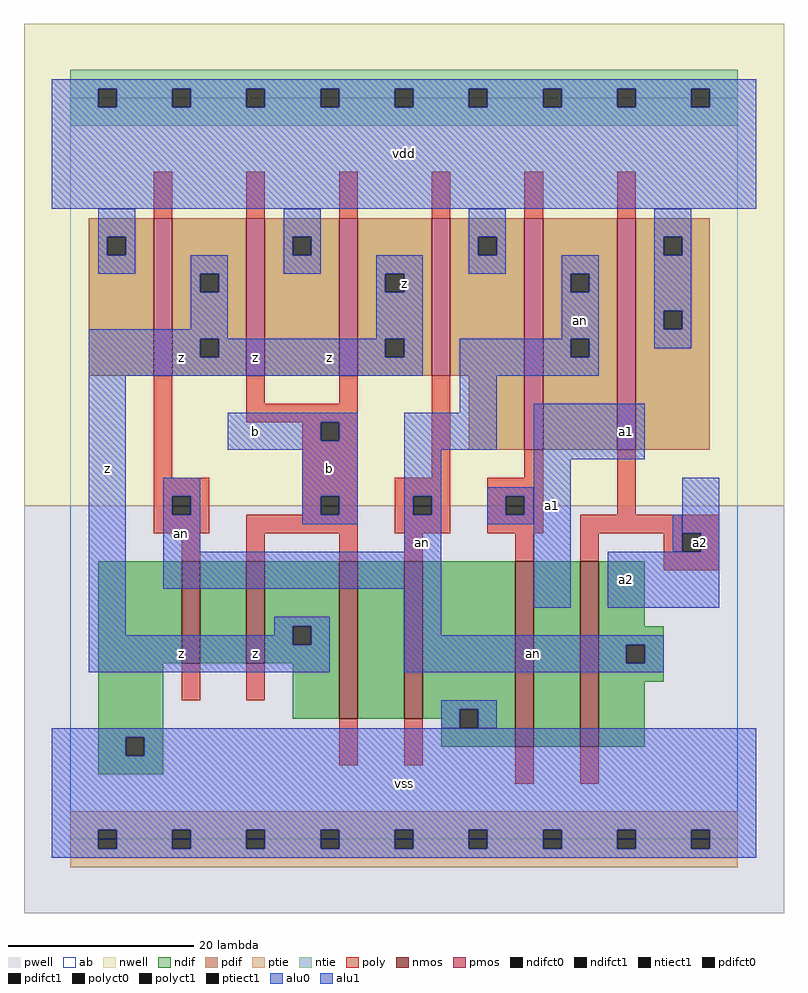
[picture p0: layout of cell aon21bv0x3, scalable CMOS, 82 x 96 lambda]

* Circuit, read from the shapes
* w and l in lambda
.subckt aon21bv0x3 a1 a2 an b vdd vss z
M1 n1 an vss vss nfet w=11 l=2
M2 z b n1 vss nfet w=11 l=2
M3 n2 b z vss nfet w=17 l=2
M4 vss an n2 vss nfet w=17 l=2
M5 n3 a1 vss vss nfet w=20 l=2
M6 an a2 n3 vss nfet w=20 l=2
M7 z an vdd vdd pfet w=17 l=2 m=2
M8 vdd b z vdd pfet w=17 l=2 m=2
M9 an a1 vdd vdd pfet w=25 l=2
M10 vdd a2 an vdd pfet w=25 l=2
.ends

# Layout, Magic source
magic
tech scmos
<< ab >>
rect 0 0 72 80
<< nwell >>
rect -5 36 77 88
<< pwell >>
rect -5 -8 77 36
<< poly >>
rect 9 67 11 72
rect 19 67 21 72
rect 29 67 31 72
rect 39 67 41 72
rect 49 67 51 72
rect 59 67 61 72
rect 9 39 11 50
rect 19 47 21 50
rect 29 47 31 50
rect 19 45 31 47
rect 25 43 27 45
rect 29 43 31 45
rect 9 37 15 39
rect 9 35 11 37
rect 13 35 15 37
rect 25 37 31 43
rect 39 39 41 50
rect 49 39 51 42
rect 25 35 27 37
rect 29 35 31 37
rect 9 33 15 35
rect 19 33 31 35
rect 35 37 41 39
rect 35 35 37 37
rect 39 35 41 37
rect 35 33 41 35
rect 45 37 51 39
rect 45 35 47 37
rect 49 35 51 37
rect 59 35 61 42
rect 45 33 51 35
rect 55 33 70 35
rect 12 30 14 33
rect 19 30 21 33
rect 29 30 31 33
rect 36 30 38 33
rect 48 30 50 33
rect 55 30 57 33
rect 64 31 66 33
rect 68 31 70 33
rect 12 15 14 19
rect 19 15 21 19
rect 29 8 31 13
rect 36 8 38 13
rect 64 29 70 31
rect 48 6 50 10
rect 55 6 57 10
<< ndif >>
rect 3 19 12 30
rect 14 19 19 30
rect 21 23 29 30
rect 21 21 24 23
rect 26 21 29 23
rect 21 19 29 21
rect 3 11 10 19
rect 24 13 29 19
rect 31 13 36 30
rect 38 14 48 30
rect 38 13 42 14
rect 3 9 6 11
rect 8 9 10 11
rect 3 7 10 9
rect 40 12 42 13
rect 44 12 48 14
rect 40 10 48 12
rect 50 10 55 30
rect 57 23 62 30
rect 57 21 64 23
rect 57 19 60 21
rect 62 19 64 21
rect 57 17 64 19
rect 57 10 62 17
<< pdif >>
rect 2 65 9 67
rect 2 63 4 65
rect 6 63 9 65
rect 2 50 9 63
rect 11 61 19 67
rect 11 59 14 61
rect 16 59 19 61
rect 11 54 19 59
rect 11 52 14 54
rect 16 52 19 54
rect 11 50 19 52
rect 21 65 29 67
rect 21 63 24 65
rect 26 63 29 65
rect 21 50 29 63
rect 31 61 39 67
rect 31 59 34 61
rect 36 59 39 61
rect 31 54 39 59
rect 31 52 34 54
rect 36 52 39 54
rect 31 50 39 52
rect 41 65 49 67
rect 41 63 44 65
rect 46 63 49 65
rect 41 50 49 63
rect 43 42 49 50
rect 51 61 59 67
rect 51 59 54 61
rect 56 59 59 61
rect 51 54 59 59
rect 51 52 54 54
rect 56 52 59 54
rect 51 42 59 52
rect 61 65 69 67
rect 61 63 64 65
rect 66 63 69 65
rect 61 57 69 63
rect 61 55 64 57
rect 66 55 69 57
rect 61 42 69 55
<< alu1 >>
rect -2 81 74 82
rect -2 79 3 81
rect 5 79 11 81
rect 13 79 19 81
rect 21 79 27 81
rect 29 79 35 81
rect 37 79 43 81
rect 45 79 51 81
rect 53 79 59 81
rect 61 79 67 81
rect 69 79 74 81
rect -2 68 74 79
rect 13 61 17 63
rect 33 61 38 63
rect 13 59 14 61
rect 16 59 17 61
rect 13 55 17 59
rect 2 54 17 55
rect 33 59 34 61
rect 36 59 38 61
rect 33 54 38 59
rect 2 52 14 54
rect 16 52 34 54
rect 36 52 38 54
rect 2 50 38 52
rect 2 22 6 50
rect 17 45 31 46
rect 17 43 27 45
rect 29 43 31 45
rect 17 42 31 43
rect 25 37 31 42
rect 25 35 27 37
rect 29 35 31 37
rect 25 34 31 35
rect 50 41 62 47
rect 22 23 28 24
rect 22 22 24 23
rect 2 21 24 22
rect 26 21 28 23
rect 2 18 28 21
rect 50 25 54 41
rect 66 33 70 39
rect 68 31 70 33
rect 58 25 70 31
rect -2 11 74 12
rect -2 9 6 11
rect 8 9 74 11
rect -2 1 74 9
rect -2 -1 3 1
rect 5 -1 11 1
rect 13 -1 19 1
rect 21 -1 27 1
rect 29 -1 35 1
rect 37 -1 43 1
rect 45 -1 51 1
rect 53 -1 59 1
rect 61 -1 67 1
rect 69 -1 74 1
rect -2 -2 74 -1
<< ptie >>
rect 0 1 72 3
rect 0 -1 3 1
rect 5 -1 11 1
rect 13 -1 19 1
rect 21 -1 27 1
rect 29 -1 35 1
rect 37 -1 43 1
rect 45 -1 51 1
rect 53 -1 59 1
rect 61 -1 67 1
rect 69 -1 72 1
rect 0 -3 72 -1
<< ntie >>
rect 0 81 72 83
rect 0 79 3 81
rect 5 79 11 81
rect 13 79 19 81
rect 21 79 27 81
rect 29 79 35 81
rect 37 79 43 81
rect 45 79 51 81
rect 53 79 59 81
rect 61 79 67 81
rect 69 79 72 81
rect 0 77 72 79
<< nmos >>
rect 12 19 14 30
rect 19 19 21 30
rect 29 13 31 30
rect 36 13 38 30
rect 48 10 50 30
rect 55 10 57 30
<< pmos >>
rect 9 50 11 67
rect 19 50 21 67
rect 29 50 31 67
rect 39 50 41 67
rect 49 42 51 67
rect 59 42 61 67
<< polyct0 >>
rect 11 35 13 37
rect 37 35 39 37
rect 47 35 49 37
<< polyct1 >>
rect 27 43 29 45
rect 27 35 29 37
rect 66 31 68 33
<< ndifct0 >>
rect 42 12 44 14
rect 60 19 62 21
<< ndifct1 >>
rect 24 21 26 23
rect 6 9 8 11
<< ntiect1 >>
rect 3 79 5 81
rect 11 79 13 81
rect 19 79 21 81
rect 27 79 29 81
rect 35 79 37 81
rect 43 79 45 81
rect 51 79 53 81
rect 59 79 61 81
rect 67 79 69 81
<< ptiect1 >>
rect 3 -1 5 1
rect 11 -1 13 1
rect 19 -1 21 1
rect 27 -1 29 1
rect 35 -1 37 1
rect 43 -1 45 1
rect 51 -1 53 1
rect 59 -1 61 1
rect 67 -1 69 1
<< pdifct0 >>
rect 4 63 6 65
rect 24 63 26 65
rect 44 63 46 65
rect 54 59 56 61
rect 54 52 56 54
rect 64 63 66 65
rect 64 55 66 57
<< pdifct1 >>
rect 14 59 16 61
rect 14 52 16 54
rect 34 59 36 61
rect 34 52 36 54
<< alu0 >>
rect 3 65 7 68
rect 3 63 4 65
rect 6 63 7 65
rect 23 65 27 68
rect 23 63 24 65
rect 26 63 27 65
rect 43 65 47 68
rect 43 63 44 65
rect 46 63 47 65
rect 63 65 67 68
rect 63 63 64 65
rect 66 63 67 65
rect 3 61 7 63
rect 23 61 27 63
rect 43 61 47 63
rect 53 61 57 63
rect 53 59 54 61
rect 56 59 57 61
rect 53 54 57 59
rect 42 52 54 54
rect 56 52 57 54
rect 63 57 67 63
rect 63 55 64 57
rect 66 55 67 57
rect 63 53 67 55
rect 42 50 57 52
rect 42 46 46 50
rect 10 37 14 39
rect 10 35 11 37
rect 13 35 14 37
rect 10 31 14 35
rect 36 42 46 46
rect 36 37 40 42
rect 36 35 37 37
rect 39 35 40 37
rect 36 31 40 35
rect 45 37 50 38
rect 45 35 47 37
rect 49 35 50 37
rect 45 34 50 35
rect 10 27 40 31
rect 36 22 40 27
rect 65 31 66 35
rect 36 21 64 22
rect 36 19 60 21
rect 62 19 64 21
rect 36 18 64 19
rect 40 14 46 15
rect 40 12 42 14
rect 44 12 46 14
<< labels >>
rlabel alu0 12 33 12 33 6 an
rlabel alu0 38 32 38 32 6 an
rlabel alu0 50 20 50 20 6 an
rlabel alu0 55 56 55 56 6 an
rlabel alu1 12 20 12 20 6 z
rlabel alu1 4 40 4 40 6 z
rlabel alu1 12 52 12 52 6 z
rlabel alu1 20 20 20 20 6 z
rlabel alu1 28 40 28 40 6 b
rlabel alu1 20 44 20 44 6 b
rlabel alu1 20 52 20 52 6 z
rlabel alu1 28 52 28 52 6 z
rlabel alu1 36 6 36 6 6 vss
rlabel alu1 52 36 52 36 6 a1
rlabel alu1 36 60 36 60 6 z
rlabel alu1 36 74 36 74 6 vdd
rlabel alu1 60 28 60 28 6 a2
rlabel alu1 68 32 68 32 6 a2
rlabel alu1 60 44 60 44 6 a1
<< end >>
